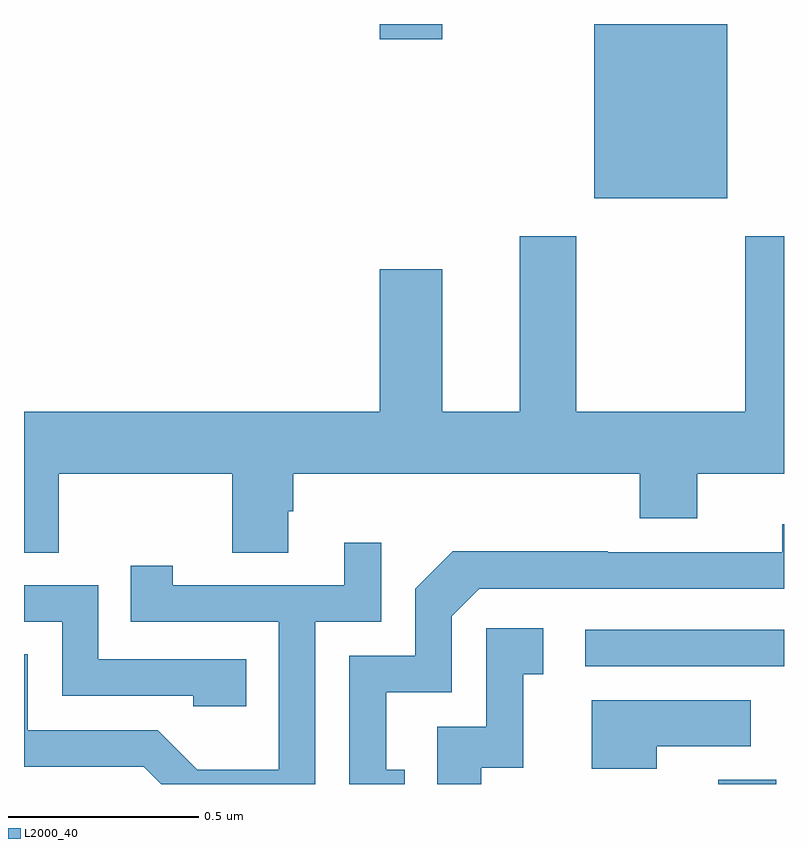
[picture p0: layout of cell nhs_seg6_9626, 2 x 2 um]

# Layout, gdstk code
import gdstk
lib = gdstk.Library(unit=1e-6, precision=1e-09)
def R(c, l, rs):  # rectangles x0, y0, x1, y1
    for r in rs: c.add(gdstk.rectangle(r[:2], r[2:], *l))
def P(c, l, *ps):  # polygons
    for p in ps: c.add(gdstk.Polygon(p, *l))
L2000_40 = (2000, 40)

nhs_seg6_9626 = lib.new_cell('nhs_seg6_9626')
R(nhs_seg6_9626, L2000_40, [(237.827,966.5,237.979,966.511), (237.477,966.81,238,966.906), (237.5,968.042,237.85,968.5), (236.936,968.46,237.1,968.5)])
P(nhs_seg6_9626, L2000_40, [(237.62,967.199),(237.772,967.199),(237.772,967.316),(238,967.316),(238,967.942),(237.898,967.942),(237.898,967.48),(237.453,967.48),(237.453,967.942),(237.305,967.942),(237.305,967.48),(237.1,967.48),(237.1,967.855),(236.936,967.855),(236.936,967.48),(236,967.48),(236,967.108),(236.091,967.108),(236.091,967.316),(236.548,967.316),(236.548,967.108),(236.695,967.108),(236.695,967.218),(236.708,967.218),(236.708,967.316),(237.62,967.316)],
  [(237.002,966.537),(236.953,966.537),(236.953,966.741),(237.126,966.741),(237.126,966.942),(237.198,967.014),(238,967.014),(238,967.183),(237.996,967.183),(237.996,967.11),(237.536,967.11),(237.536,967.112),(237.128,967.112),(237.03,967.014),(237.03,966.837),(236.856,966.837),(236.856,966.5),(237.002,966.5)],
  [(236.766,966.927),(236.94,966.927),(236.94,967.135),(236.843,967.135),(236.843,967.023),(236.392,967.023),(236.392,967.075),(236.281,967.075),(236.281,966.927),(236.67,966.927),(236.67,966.538),(236.456,966.538),(236.352,966.642),(236.01,966.642),(236.01,966.841),(236,966.841),(236,966.546),(236.315,966.546),(236.361,966.5),(236.766,966.5)],
  [(236.585,966.828),(236.196,966.828),(236.196,967.023),(236,967.023),(236,966.927),(236.1,966.927),(236.1,966.732),(236.445,966.732),(236.445,966.705),(236.585,966.705)],
  [(237.203,966.543),(237.314,966.543),(237.314,966.789),(237.367,966.789),(237.367,966.91),(237.216,966.91),(237.216,966.651),(237.087,966.651),(237.087,966.5),(237.203,966.5)],
  [(237.665,966.599),(237.913,966.599),(237.913,966.721),(237.494,966.721),(237.494,966.54),(237.665,966.54)])

lib.write_gds('nhs_seg6_9626.gds')
